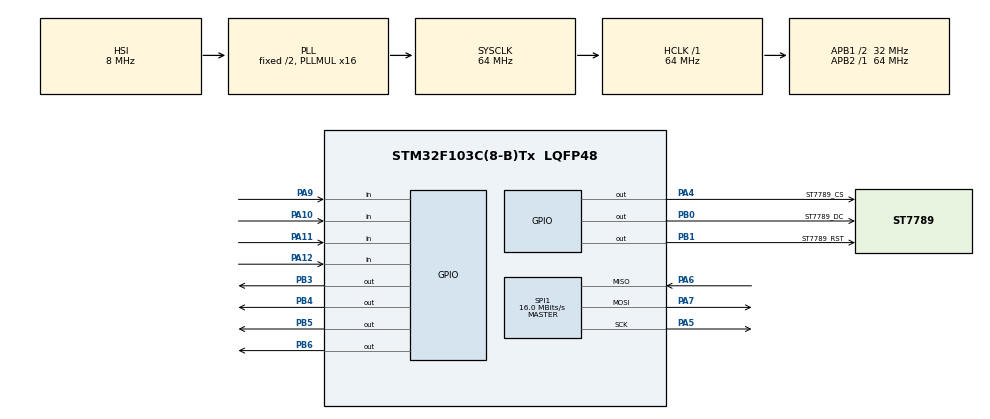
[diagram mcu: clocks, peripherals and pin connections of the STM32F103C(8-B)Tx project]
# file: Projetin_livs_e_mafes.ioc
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Mcu.Family=STM32F1
Mcu.Name=STM32F103C(8-B)Tx
Mcu.Package=LQFP48
NVIC.PriorityGroup=NVIC_PRIORITYGROUP_4
PA10.GPIO_PuPd=GPIO_PULLUP
PA10.Signal=GPIO_Input
PA11.GPIO_PuPd=GPIO_PULLUP
PA11.Signal=GPIO_Input
PA12.GPIO_PuPd=GPIO_PULLUP
PA12.Signal=GPIO_Input
PA13.Mode=Serial_Wire
PA13.Signal=SYS_JTMS-SWDIO
PA14.Mode=Serial_Wire
PA14.Signal=SYS_JTCK-SWCLK
PA4.GPIO_Label=ST7789_CS
PA4.Signal=GPIO_Output
PA5.Mode=Full_Duplex_Master
PA5.Signal=SPI1_SCK
PA6.Mode=Full_Duplex_Master
PA6.Signal=SPI1_MISO
PA7.Mode=Full_Duplex_Master
PA7.Signal=SPI1_MOSI
PA9.GPIO_PuPd=GPIO_PULLUP
PA9.Signal=GPIO_Input
PB0.GPIO_Label=ST7789_DC
PB0.Signal=GPIO_Output
PB1.GPIO_Label=ST7789_RST
PB1.Signal=GPIO_Output
PB3.Signal=GPIO_Output
PB4.Signal=GPIO_Output
PB5.Signal=GPIO_Output
PB6.Signal=GPIO_Output
ProjectManager.HeapSize=0x200
ProjectManager.StackSize=0x400
ProjectManager.TargetToolchain=STM32CubeIDE
RCC.AHBFreq_Value=64000000
RCC.APB1CLKDivider=RCC_HCLK_DIV2
RCC.APB1Freq_Value=32000000
RCC.APB1TimFreq_Value=64000000
RCC.APB2Freq_Value=64000000
RCC.APB2TimFreq_Value=64000000
RCC.HCLKFreq_Value=64000000
RCC.PLLMUL=RCC_PLL_MUL16
RCC.SYSCLKFreq_VALUE=64000000
RCC.SYSCLKSource=RCC_SYSCLKSOURCE_PLLCLK
RCC.USBFreq_Value=64000000
SPI1.BaudRatePrescaler=SPI_BAUDRATEPRESCALER_4
SPI1.CLKPolarity=SPI_POLARITY_HIGH
SPI1.CalculateBaudRate=16.0 MBits/s
SPI1.Direction=SPI_DIRECTION_2LINES
SPI1.Mode=SPI_MODE_MASTER
SPI1.VirtualType=VM_MASTER
board=custom

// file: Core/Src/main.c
/* USER CODE BEGIN Header */
/**
  ******************************************************************************
  * @file           : main.c
  * @brief          : Main program body
  ******************************************************************************
  * @attention
  *
  * <h2><center>&copy; Copyright (c) 2024 STMicroelectronics.
  * All rights reserved.</center></h2>
  *
  * This software component is licensed by ST under BSD 3-Clause license,
  * the "License"; You may not use this file except in compliance with the
  * License. You may obtain a copy of the License at:
  *                        opensource.org/licenses/BSD-3-Clause
  *
  ******************************************************************************
  */
/* USER CODE END Header */
#include "main.h"
/* USER CODE BEGIN Includes */
#include "st7789\st7789.h"

/* USER CODE END Includes */

/* USER CODE BEGIN PD */

#define BTNUP_ON  HAL_GPIO_ReadPin(GPIOA, GPIO_PIN_12) == GPIO_PIN_RESET
#define BTNDOWN_ON  HAL_GPIO_ReadPin(GPIOA, GPIO_PIN_10) == GPIO_PIN_RESET
#define BTNLEFT_ON  HAL_GPIO_ReadPin(GPIOA, GPIO_PIN_9) == GPIO_PIN_RESET
#define BTNRIGHT_ON  HAL_GPIO_ReadPin(GPIOA, GPIO_PIN_11) == GPIO_PIN_RESET

#define LED1ON  HAL_GPIO_WritePin(GPIOB, GPIO_PIN_6, 1)
#define LED2ON  HAL_GPIO_WritePin(GPIOB, GPIO_PIN_5, 1)
#define LED3ON  HAL_GPIO_WritePin(GPIOB, GPIO_PIN_4, 1)
#define LED4ON  HAL_GPIO_WritePin(GPIOB, GPIO_PIN_3, 1)
#define LED1OFF  HAL_GPIO_WritePin(GPIOB, GPIO_PIN_6, 0)
#define LED2OFF  HAL_GPIO_WritePin(GPIOB, GPIO_PIN_5, 0)
#define LED3OFF  HAL_GPIO_WritePin(GPIOB, GPIO_PIN_4, 0)
#define LED4OFF  HAL_GPIO_WritePin(GPIOB, GPIO_PIN_3, 0)
/* USER CODE END PD */

SPI_HandleTypeDef hspi1;

void SystemClock_Config(void);
static void MX_GPIO_Init(void);
static void MX_SPI1_Init(void);

int main(void)
{

  /* MCU Configuration--------------------------------------------------------*/

  /* Reset of all peripherals, Initializes the Flash interface and the Systick. */
	HAL_Init();

  /* Configure the system clock */
  SystemClock_Config();

  /* Initialize all configured peripherals */
  MX_GPIO_Init();
  MX_SPI1_Init();
  /* USER CODE BEGIN 2 */
  ST7789_Init();
  ST7789_Fill_Color(BLACK);

  /* USER CODE END 2 */

  /* Infinite loop */
  while (1)
  {
      /* USER CODE BEGIN 3 */
	  MainMenu();
  }

  /* USER CODE END 3 */
}

void SystemClock_Config(void)
{
  RCC_OscInitTypeDef RCC_OscInitStruct = {0};
  RCC_ClkInitTypeDef RCC_ClkInitStruct = {0};

  /** Initializes the RCC Oscillators according to the specified parameters
  * in the RCC_OscInitTypeDef structure.
  */
  RCC_OscInitStruct.OscillatorType = RCC_OSCILLATORTYPE_HSI;
  RCC_OscInitStruct.HSIState = RCC_HSI_ON;
  RCC_OscInitStruct.HSICalibrationValue = RCC_HSICALIBRATION_DEFAULT;
  RCC_OscInitStruct.PLL.PLLState = RCC_PLL_ON;
  RCC_OscInitStruct.PLL.PLLSource = RCC_PLLSOURCE_HSI_DIV2;
  RCC_OscInitStruct.PLL.PLLMUL = RCC_PLL_MUL16;
  if (HAL_RCC_OscConfig(&RCC_OscInitStruct) != HAL_OK)
  {
    Error_Handler();
  }
  /** Initializes the CPU, AHB and APB buses clocks
  */
  RCC_ClkInitStruct.ClockType = RCC_CLOCKTYPE_HCLK|RCC_CLOCKTYPE_SYSCLK
                              |RCC_CLOCKTYPE_PCLK1|RCC_CLOCKTYPE_PCLK2;
  RCC_ClkInitStruct.SYSCLKSource = RCC_SYSCLKSOURCE_PLLCLK;
  RCC_ClkInitStruct.AHBCLKDivider = RCC_SYSCLK_DIV1;
  RCC_ClkInitStruct.APB1CLKDivider = RCC_HCLK_DIV2;
  RCC_ClkInitStruct.APB2CLKDivider = RCC_HCLK_DIV1;

  if (HAL_RCC_ClockConfig(&RCC_ClkInitStruct, FLASH_LATENCY_2) != HAL_OK)
  {
    Error_Handler();
  }
}

static void MX_SPI1_Init(void)
{

  /* SPI1 parameter configuration*/
  hspi1.Instance = SPI1;
  hspi1.Init.Mode = SPI_MODE_MASTER;
  hspi1.Init.Direction = SPI_DIRECTION_2LINES;
  hspi1.Init.DataSize = SPI_DATASIZE_8BIT;
  hspi1.Init.CLKPolarity = SPI_POLARITY_HIGH;
  hspi1.Init.CLKPhase = SPI_PHASE_1EDGE;
  hspi1.Init.NSS = SPI_NSS_SOFT;
  hspi1.Init.BaudRatePrescaler = SPI_BAUDRATEPRESCALER_4;
  hspi1.Init.FirstBit = SPI_FIRSTBIT_MSB;
  hspi1.Init.TIMode = SPI_TIMODE_DISABLE;
  hspi1.Init.CRCCalculation = SPI_CRCCALCULATION_DISABLE;
  hspi1.Init.CRCPolynomial = 10;
  if (HAL_SPI_Init(&hspi1) != HAL_OK)
  {
    Error_Handler();
  }

}

static void MX_GPIO_Init(void)
{
  GPIO_InitTypeDef GPIO_InitStruct = {0};

  /* GPIO Ports Clock Enable */
  __HAL_RCC_GPIOA_CLK_ENABLE();
  __HAL_RCC_GPIOB_CLK_ENABLE();

  /*Configure GPIO pin Output Level */
  HAL_GPIO_WritePin(ST7789_CS_GPIO_Port, ST7789_CS_Pin, GPIO_PIN_RESET);

  /*Configure GPIO pin Output Level */
  HAL_GPIO_WritePin(GPIOB, ST7789_DC_Pin|ST7789_RST_Pin|GPIO_PIN_3|GPIO_PIN_4
                          |GPIO_PIN_5|GPIO_PIN_6, GPIO_PIN_RESET);

  /*Configure GPIO pin : ST7789_CS_Pin */
  GPIO_InitStruct.Pin = ST7789_CS_Pin;
  GPIO_InitStruct.Mode = GPIO_MODE_OUTPUT_PP;
  GPIO_InitStruct.Pull = GPIO_NOPULL;
  GPIO_InitStruct.Speed = GPIO_SPEED_FREQ_LOW;
  HAL_GPIO_Init(ST7789_CS_GPIO_Port, &GPIO_InitStruct);

  /*Configure GPIO pins : ST7789_DC_Pin ST7789_RST_Pin PB3 PB4
                           PB5 PB6 */
  GPIO_InitStruct.Pin = ST7789_DC_Pin|ST7789_RST_Pin|GPIO_PIN_3|GPIO_PIN_4
                          |GPIO_PIN_5|GPIO_PIN_6;
  GPIO_InitStruct.Mode = GPIO_MODE_OUTPUT_PP;
  GPIO_InitStruct.Pull = GPIO_NOPULL;
  GPIO_InitStruct.Speed = GPIO_SPEED_FREQ_LOW;
  HAL_GPIO_Init(GPIOB, &GPIO_InitStruct);

  /*Configure GPIO pins : PA9 PA10 PA11 PA12 */
  GPIO_InitStruct.Pin = GPIO_PIN_9|GPIO_PIN_10|GPIO_PIN_11|GPIO_PIN_12;
  GPIO_InitStruct.Mode = GPIO_MODE_INPUT;
  GPIO_InitStruct.Pull = GPIO_PULLUP;
  HAL_GPIO_Init(GPIOA, &GPIO_InitStruct);

}

/* USER CODE BEGIN 4 */
int x_barrier = 0;
int y_barrier = 0;
int choice_menu = 0;
int confirm_choice = 0;
int choice_velocity = 0;
int velocity = 0;
int confirm_velocity = 0;
int x_snake = 20;
int y_snake = 60;
int btnvalue = 0;
int collision_true = 0;
int x_snake_old = 0;
int y_snake_old = 0;
int back_menu = 0;
int confirm_back = 0;
int x_collectable = 0;
int y_collectable = 0;
int playerscore = 0;
int unity_score = 0;
int ten_score = 0;
int record = 0;
int unity_record = 0;
int ten_record = 0;

void MainMenu()
{
	ST7789_WriteString(25,20," Snake Zika ", Font_16x26, BLACK, CYAN);
	ST7789_WriteString(60,75," Play (UP) ", Font_11x18, WHITE, BLACK);
	ST7789_WriteString(25,110," Velocity (DOWN) ", Font_11x18, WHITE, BLACK);
	ST7789_WriteString(50,150," RECORD >  ", Font_11x18, WHITE, BLACK);
	ST7789_WriteChar(170, 150,unity_record + '0', Font_11x18, WHITE, BLACK);
    ST7789_WriteChar(160, 150,ten_record + '0', Font_11x18, WHITE, BLACK);
	ST7789_WriteString(55,200," Confirm (RIGHT) ", Font_7x10, WHITE, BLACK);

	if(BTNUP_ON ==1)
	{
		choice_menu = 1;
	}
	else if(BTNDOWN_ON ==1)
	{
		choice_menu = 2;
	}

	switch(choice_menu)
	{
		case 1:
			ST7789_WriteString(60,75," Play (UP) ", Font_11x18, BLACK, CYAN);
			LED1ON;
			LED2OFF;
		break;

		case 2:
			ST7789_WriteString(25,110," Velocity (DOWN) ", Font_11x18, BLACK, CYAN);
			LED2ON;
			LED1OFF;
		break;
	}

	if(BTNRIGHT_ON == 1)
	{
		confirm_choice = 1;
		LED2OFF;
	}

	if(choice_menu == 1 && confirm_choice == 1)
	{
		confirm_choice = 0;
		ST7789_Fill_Color(BLACK);
		StartGame();
	}
	else if (choice_menu == 2 && confirm_choice == 1)
	{
		confirm_choice = 0;
		ST7789_Fill_Color(BLACK);
		ChooseVelocity();
	}
}

void ChooseVelocity()
{
	while (confirm_velocity == 0)
	{
		ST7789_WriteString(25,20," Snake Zika ", Font_16x26, BLACK, CYAN);
		ST7789_WriteString(60,75," Fast (UP) ", Font_11x18, WHITE, BLACK);
		ST7789_WriteString(30,110," Medium (LEFT) ", Font_11x18, WHITE, BLACK);
		ST7789_WriteString(50,145," Slow (DOWN) ", Font_11x18, WHITE, BLACK);
		ST7789_WriteString(55,190," Confirm (RIGHT) ", Font_7x10, WHITE, BLACK);

		if(BTNUP_ON ==1)
		{
			choice_velocity = 1;
		}
		else if(BTNLEFT_ON ==1)
		{
			choice_velocity = 2;
		}
		else if(BTNDOWN_ON ==1)
		{
			choice_velocity = 3;
		}

		switch(choice_velocity)
		{
			case 1:
				ST7789_WriteString(60,75," Fast (UP) ", Font_11x18, BLACK, CYAN);
				LED1ON;
				LED2OFF;
				LED3OFF;
			break;

			case 2:
				ST7789_WriteString(30,110," Medium (LEFT) ", Font_11x18, BLACK, CYAN);
				LED1OFF;
				LED2ON;
				LED3OFF;
			break;

			case 3:
				ST7789_WriteString(50,145," Slow (DOWN) ", Font_11x18, BLACK, CYAN);
				LED1OFF;
				LED2OFF;
				LED3ON;
			break;
		}

		if(BTNRIGHT_ON == 1)
		{
			confirm_velocity = 1;
			LED1OFF;
			LED2OFF;
			LED3OFF;
		}
	}
	if(choice_velocity == 1 && confirm_velocity == 1)
	{
		confirm_velocity = 0;
		velocity = 0;
		ST7789_Fill_Color(BLACK);
		MainMenu();
	}
	else if (choice_velocity == 2 && confirm_velocity == 1)
	{
		confirm_velocity = 0;
		velocity = 75;
		ST7789_Fill_Color(BLACK);
		MainMenu();

	}
	else if (choice_velocity == 3 && confirm_velocity == 1)
	{
		confirm_velocity = 0;
		velocity = 150;
		ST7789_Fill_Color(BLACK);
		MainMenu();
	}

}

void StartGame()
{
	ST7789_WriteString(0 ,230,"Your Score: ", Font_7x10, WHITE, BLACK);
	ST7789_WriteString(120, 230,"High Score: ", Font_7x10, WHITE, BLACK);

	x_snake = 20;
	y_snake = 60;
    collision_true = 0;
    playerscore = 0;
    unity_score = 0;
    ten_score = 0;

    DrawBarrier();
    GenerateCollectable();
	Snake();

}

void VerifyCollision()
{
	if ((x_snake <= 10 || x_snake >= 238) || (y_snake <= 2 || y_snake >= 215))
	{
		collision_true = 1;
	}
	else
    {
		collision_true = 0;
	}

}

int VerifyCatch()
{

	if(x_snake <= x_collectable + 5 && x_snake  >= x_collectable - 5 && y_snake <= y_collectable + 5 && y_snake >= y_collectable - 5)
	{
		unity_score++;
		playerscore++;
		ST7789_DrawFilledCircle(x_collectable, y_collectable, 7, BLACK);
		GenerateCollectable();
		UpdateScore();
		UpdateRecord();
	}

}

void GenerateCollectable()
{
		x_collectable = rand() % 228 + 1;
	    y_collectable = rand() % 205 + 1;

	    if ((x_collectable <= 14 || x_collectable >= 234) || ( y_collectable <= 6 ||  y_collectable >= 211))
	    {
	    	ST7789_DrawFilledCircle(85,100, 3, MAGENTA);
	    }
	    else
	    {
	    	ST7789_DrawFilledCircle(x_collectable, y_collectable, 3, MAGENTA);
	    }

}

void UpdateScore()
{

	if (unity_score > 9)
	{
		unity_score = 0;
		ten_score ++;
	}

	ST7789_WriteChar(95, 230,unity_score + '0', Font_7x10, WHITE, BLACK);
    ST7789_WriteChar(85, 230,ten_score + '0', Font_7x10, WHITE, BLACK);
}

void UpdateRecord()
{
	if (playerscore > record)
	{
		record = playerscore;
		unity_record = unity_score;
		ten_record = ten_score;

		if (unity_record > 9)
		{
			unity_record = 0;
			ten_record ++;
		}
	}
	ST7789_WriteChar(210, 230,unity_record + '0', Font_7x10, WHITE, BLACK);
	ST7789_WriteChar(200, 230,ten_record + '0', Font_7x10, WHITE, BLACK);
}

void Snake()
{
	while (collision_true == 0)
	{
		ST7789_DrawFilledCircle(x_snake, y_snake,7, GREEN);

		x_snake_old = x_snake;
		y_snake_old = y_snake;

		if(BTNUP_ON == 1)
		{
			btnvalue = 1;
		}

        else if(BTNDOWN_ON == 1)
        {
        	btnvalue = 2;
		}

		else if(BTNLEFT_ON == 1)
		{
			btnvalue = 3;
		}

		else if(BTNRIGHT_ON == 1)
		{
			btnvalue = 4;
		}

		x_snake_old = x_snake;
		y_snake_old = y_snake;

		switch (btnvalue)
		{
			case 1:
				y_snake-=10;
				ST7789_DrawFilledCircle(x_snake, y_snake,7, GREEN);
				ST7789_DrawFilledCircle(x_snake_old, y_snake_old, 7, BLACK);
				HAL_Delay(velocity);
				VerifyCollision();
				VerifyCatch();
		    break;

		    case 2:
		    	y_snake+=10;
		    	ST7789_DrawFilledCircle(x_snake, y_snake,7, GREEN);
		    	ST7789_DrawFilledCircle(x_snake_old, y_snake_old, 7, BLACK);
		    	HAL_Delay(velocity);
		    	VerifyCollision();
		    	VerifyCatch();
		    break;

		    case 3:
		    	x_snake-=10;
		    	ST7789_DrawFilledCircle(x_snake, y_snake,7, GREEN);
		    	ST7789_DrawFilledCircle(x_snake_old, y_snake_old, 7, BLACK);
		    	HAL_Delay(velocity);
		    	VerifyCollision();
		    	VerifyCatch();
		    break;

		    case 4:
		    	x_snake+=10;
		    	ST7789_DrawFilledCircle(x_snake, y_snake,7, GREEN);
		    	ST7789_DrawFilledCircle(x_snake_old, y_snake_old, 7, BLACK);
		    	HAL_Delay(velocity);
		    	VerifyCollision();
		    	VerifyCatch();
		    break;

		}

	}
	btnvalue = 0;
	GameOver();
}

void DrawBarrier()
{
	for(x_barrier = 2 ; x_barrier <= 238; x_barrier++)
	{
		ST7789_DrawFilledCircle(x_barrier,2, 2, BLUE);
		ST7789_DrawFilledCircle(x_barrier,215, 2, BLUE);
	}
	for (y_barrier = 2; y_barrier <= 215; y_barrier++)
	{
		ST7789_DrawFilledCircle(2,y_barrier, 2, BLUE);
		ST7789_DrawFilledCircle(238,y_barrier, 2, BLUE);
	}
}

void GameOver()
{
	ST7789_Fill_Color(BLACK);
	ST7789_WriteString(50,40,">> YOU <<", Font_16x26, BLACK, CYAN);
	ST7789_WriteString(40,65,">> LOSE <<", Font_16x26, BLACK, CYAN);
	ST7789_WriteString(70,190,"MENU (UP)", Font_11x18, CYAN, BLACK);
	LED1ON;
	LED2ON;
	LED3ON;
	LED4ON;

	while(confirm_back == 0)
	{
		if (BTNUP_ON == 1)
		{
			ST7789_WriteString(70,190,"MENU (UP)", Font_11x18, BLACK, CYAN);
			back_menu = 1;
		}

		if (BTNRIGHT_ON == 1)
		{
			confirm_back = 1;
		}
	}
	confirm_back = 0;
	ST7789_Fill_Color(BLACK);
	LED1OFF;
	LED2OFF;
	LED3OFF;
	LED4OFF;
	MainMenu();
}

/* USER CODE END 4 */

void Error_Handler()
{
  __disable_irq();

}

/************************ (C) COPYRIGHT STMicroelectronics *****END OF FILE****/
